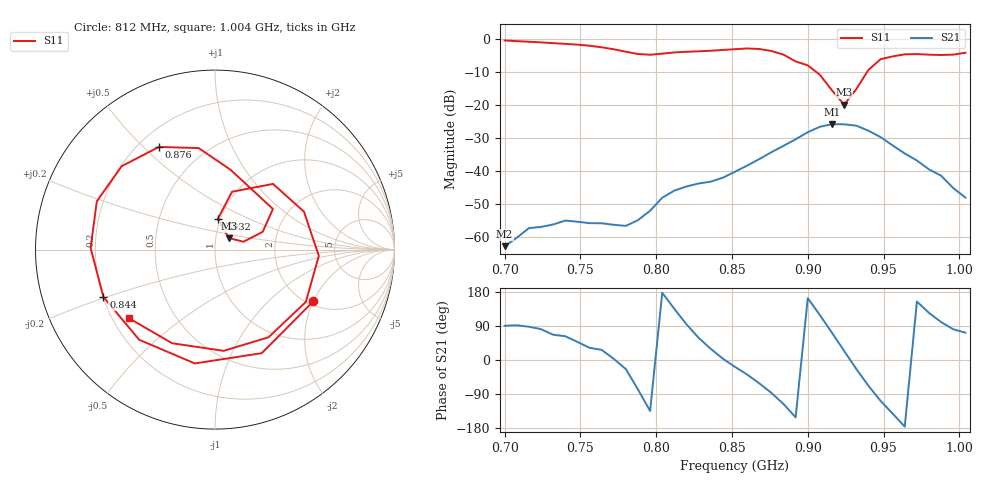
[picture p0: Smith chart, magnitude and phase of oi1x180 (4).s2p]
# Hz S RI R 50
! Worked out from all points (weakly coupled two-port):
!   39 points, 700 MHz to 1.004 GHz, reference 50 ohm
!   highest |S21| = -25.90 dB at 916 MHz (marker M1); lowest = -62.9 dB at 700 MHz (marker M2)
!   lowest |S11| = -20.0 dB at 924 MHz (marker M3), VSWR 1.22, Z = 57.7 + j7.53 ohm
!   |S11| at or under -10 dB: 905.4 MHz to 939.3 MHz (33.92 MHz wide, 3.68 % of centre)
!   S12 and S22 are empty: the file has one direction only
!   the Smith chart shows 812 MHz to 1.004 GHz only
!   S11 on the Smith chart (normalised r, x): 812 MHz: 2.15, -2.00; 844 MHz: 0.20, -0.20; 876 MHz: 0.28, +0.56; 932 MHz: 0.97, +0.34; 1.004 GHz: 0.27, -0.33
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7e8  0.7587 0.555  -4.64e-06 0.000719  0 0  0 0
7.24e8  0.8437 -0.2438  0.00021 0.00139  0 0  0 0
7.4e8  0.4595 -0.6976  0.000803 0.00156  0 0  0 0
7.56e8  -0.19 -0.7587  0.00136 0.000852  0 0  0 0
7.72e8  -0.6617 -0.2007  0.00151 8.2e-05  0 0  0 0
7.8e8  -0.5937 0.2223  0.00133 -0.000593  0 0  0 0
7.96e8  0.2414 0.517  -0.00173 -0.00176  0 0  0 0
8.04e8  0.5692 0.168  -0.00389 0.000178  0 0  0 0
8.12e8  0.5478 -0.2881  -0.00352 0.00354  0 0  0 0
8.28e8  -0.1125 -0.6342  0.00334 0.00546  0 0  0 0
8.44e8  -0.6217 -0.2636  0.00783 0.000467  0 0  0 0
8.52e8  -0.693 0.00912  0.00918 -0.003  0 0  0 0
8.76e8  -0.3125 0.5719  0.00107 -0.019  0 0  0 0
9e8  0.3227 0.2263  -0.0367 0.0111  0 0  0 0
9.08e8  0.2658 0.0991  -0.0221 0.0407  0 0  0 0
9.16e8  0.1589 0.0438  0.0159 0.0481  0 0  0 0
9.24e8  0.0764 0.0646  0.0461 0.0204  0 0  0 0
9.32e8  0.0155 0.1708  0.0441 -0.0191  0 0  0 0
9.48e8  0.3235 0.366  -0.0098 -0.0308  0 0  0 0
9.56e8  0.4956 0.2114  -0.0189 -0.015  0 0  0 0
9.8e8  0.2983 -0.4885  -0.00588 0.00864  0 0  0 0
1.004e9  -0.478 -0.383  0.0012 0.00373  0 0  0 0
